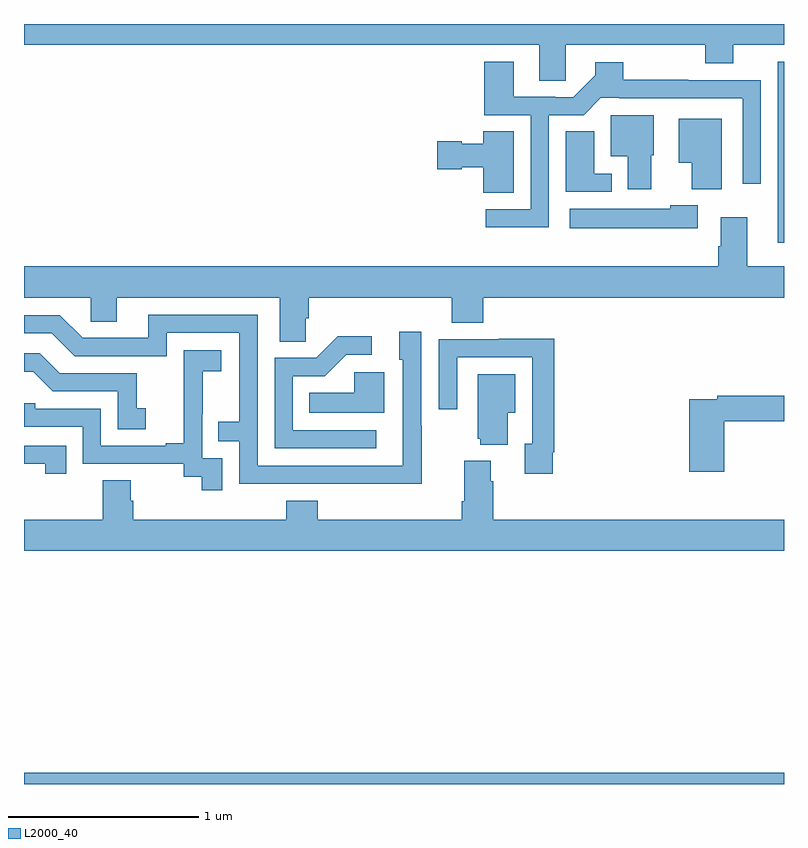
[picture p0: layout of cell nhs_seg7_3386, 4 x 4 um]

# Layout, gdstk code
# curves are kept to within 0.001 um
import gdstk
lib = gdstk.Library(unit=1e-6, precision=1e-09)
def R(c, l, rs):  # rectangles x0, y0, x1, y1
    for r in rs: c.add(gdstk.rectangle(r[:2], r[2:], *l))
def P(c, l, *ps):  # polygons
    for p in ps: c.add(gdstk.Polygon(p, *l))
L2000_40 = (2000, 40)

nhs_seg7_3386 = lib.new_cell('nhs_seg7_3386')
R(nhs_seg7_3386, L2000_40, [(325,1054,329,1054.06), (328.967,1056.849,329,1057.801)])
P(nhs_seg7_3386, L2000_40, [(327.852,1057.892),(328.585,1057.892),(328.585,1057.793),(328.732,1057.793),(328.732,1057.892),(329,1057.892),(329,1058),(325,1058),(325,1057.892),(327.713,1057.892),(327.713,1057.702),(327.852,1057.702)],
  [(327.762,1057.521),(327.946,1057.521),(328.036,1057.611),(328.132,1057.611),(328.132,1057.608),(328.781,1057.608),(328.782,1057.158),(328.878,1057.158),(328.878,1057.704),(328.496,1057.704),(328.496,1057.706),(328.155,1057.706),(328.155,1057.798),(328.007,1057.798),(328.007,1057.73),(327.891,1057.614),(327.797,1057.614),(327.797,1057.617),(327.577,1057.617),(327.577,1057.801),(327.422,1057.801),(327.422,1057.521),(327.666,1057.521),(327.666,1057.026),(327.429,1057.026),(327.429,1056.929),(327.762,1056.929)],
  [(328.3,1057.308),(328.315,1057.308),(328.315,1057.519),(328.088,1057.519),(328.088,1057.304),(328.178,1057.304),(328.178,1057.131),(328.3,1057.131)],
  [(328.672,1057.501),(328.445,1057.501),(328.445,1057.271),(328.514,1057.271),(328.514,1057.13),(328.672,1057.13)],
  [(327.577,1057.436),(327.416,1057.436),(327.416,1057.369),(327.303,1057.369),(327.303,1057.382),(327.174,1057.382),(327.174,1057.235),(327.303,1057.235),(327.303,1057.247),(327.416,1057.247),(327.416,1057.111),(327.577,1057.111)],
  [(328.093,1057.212),(328,1057.212),(328,1057.436),(327.851,1057.436),(327.851,1057.116),(328.093,1057.116)],
  [(328.546,1057.045),(328.401,1057.045),(328.401,1057.027),(327.873,1057.027),(327.873,1056.926),(328.546,1056.926)],
  [(325,1056.56),(325.35,1056.56),(325.35,1056.433),(325.489,1056.433),(325.489,1056.56),(326.345,1056.56),(326.345,1056.328),(326.484,1056.328),(326.484,1056.451),(326.498,1056.451),(326.498,1056.56),(327.251,1056.56),(327.251,1056.427),(327.416,1056.427),(327.416,1056.56),(329,1056.56),(329,1056.724),(328.807,1056.724),(328.807,1056.982),(328.667,1056.982),(328.667,1056.83),(328.655,1056.83),(328.655,1056.724),(325,1056.724)],
  [(327.093,1055.885),(327.09,1055.885),(327.09,1056.379),(326.975,1056.379),(326.975,1056.234),(326.994,1056.234),(326.993,1055.676),(326.229,1055.676),(326.229,1056.471),(325.655,1056.471),(325.655,1056.348),(325.308,1056.348),(325.188,1056.468),(325,1056.468),(325,1056.372),(325.146,1056.372),(325.266,1056.252),(325.752,1056.252),(325.752,1056.375),(326.133,1056.375),(326.133,1055.906),(326.023,1055.906),(326.023,1055.805),(326.133,1055.805),(326.133,1055.58),(327.093,1055.579)],
  [(326.854,1055.862),(326.415,1055.862),(326.415,1056.147),(326.584,1056.147),(326.695,1056.258),(326.83,1056.258),(326.83,1056.356),(326.651,1056.356),(326.538,1056.243),(326.319,1056.243),(326.319,1055.766),(326.854,1055.766)],
  [(327.784,1055.746),(327.791,1055.746),(327.791,1056.344),(327.499,1056.344),(327.499,1056.342),(327.183,1056.342),(327.183,1055.973),(327.279,1055.973),(327.279,1056.246),(327.675,1056.246),(327.675,1055.79),(327.635,1055.79),(327.635,1055.634),(327.784,1055.634)],
  [(326.043,1055.715),(325.938,1055.715),(325.938,1055.945),(325.94,1055.945),(325.94,1056.173),(326.038,1056.173),(326.038,1056.283),(325.84,1056.283),(325.84,1056.077),(325.841,1056.077),(325.841,1055.794),(325.745,1055.794),(325.745,1055.781),(325.404,1055.781),(325.404,1055.976),(325.059,1055.976),(325.059,1056.003),(325,1056.003),(325,1055.88),(325.308,1055.88),(325.308,1055.685),(325.842,1055.685),(325.842,1055.617),(325.935,1055.617),(325.935,1055.547),(326.043,1055.547)],
  [(325.642,1055.977),(325.593,1055.977),(325.593,1056.162),(325.189,1056.162),(325.084,1056.267),(325,1056.267),(325,1056.17),(325.048,1056.17),(325.152,1056.066),(325.494,1056.066),(325.494,1055.868),(325.642,1055.868)],
  [(326.896,1056.166),(326.739,1056.166),(326.739,1056.058),(326.5,1056.058),(326.5,1055.954),(326.896,1055.954)],
  [(327.547,1055.954),(327.586,1055.954),(327.586,1056.157),(327.389,1056.157),(327.389,1055.817),(327.401,1055.817),(327.401,1055.786),(327.547,1055.786)],
  [(328.685,1055.908),(329,1055.908),(329,1056.044),(328.648,1056.044),(328.648,1056.024),(328.502,1056.024),(328.502,1055.643),(328.685,1055.643)],
  [(325.223,1055.781),(325,1055.781),(325,1055.685),(325.112,1055.685),(325.112,1055.634),(325.223,1055.634)],
  [(329,1055.392),(327.47,1055.392),(327.47,1055.594),(327.457,1055.594),(327.457,1055.701),(327.317,1055.701),(327.317,1055.488),(327.305,1055.488),(327.305,1055.392),(326.546,1055.392),(326.546,1055.491),(326.381,1055.491),(326.381,1055.392),(325.574,1055.392),(325.574,1055.49),(325.561,1055.49),(325.561,1055.6),(325.414,1055.6),(325.414,1055.392),(325,1055.392),(325,1055.228),(329,1055.228)])

lib.write_gds('nhs_seg7_3386.gds')
